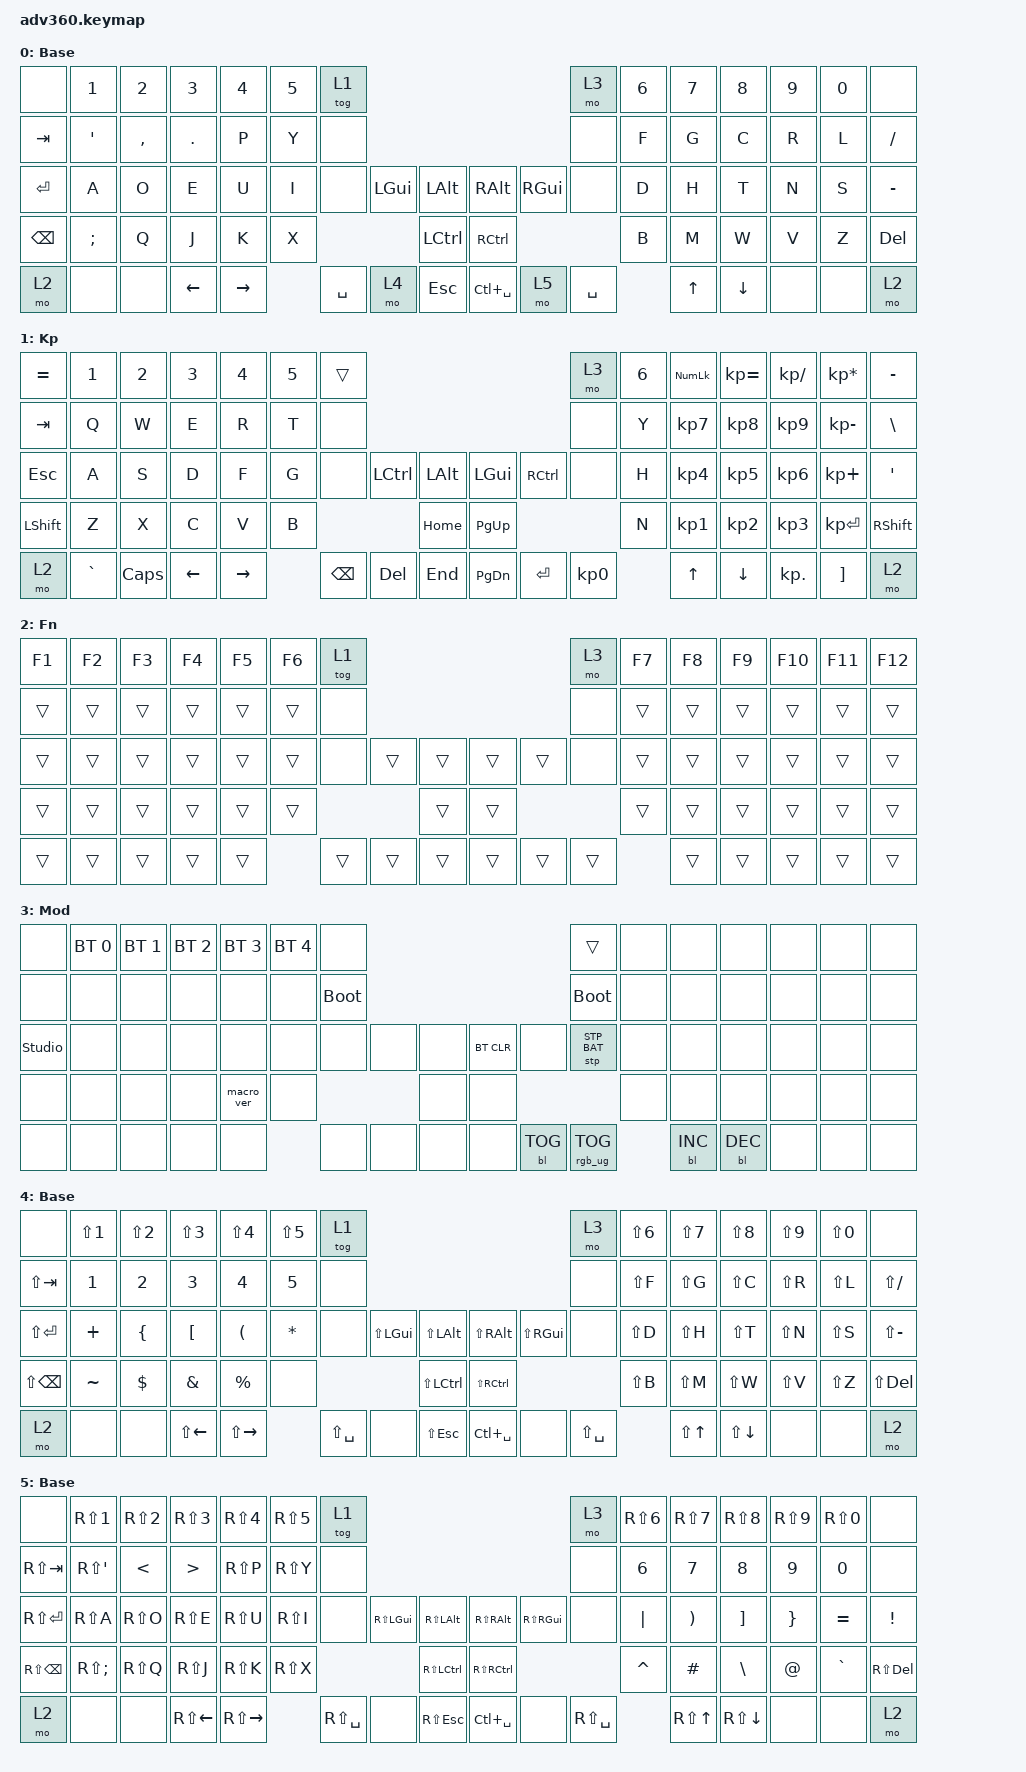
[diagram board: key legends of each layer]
#include <dt-bindings/zmk/stp.h>
#include <behaviors.dtsi>
#include <dt-bindings/zmk/backlight.h>
#include <dt-bindings/zmk/bt.h>
#include <dt-bindings/zmk/keys.h>
#include <dt-bindings/zmk/rgb.h>

/ {
    behaviors {
        #include "macros.dtsi"
      #include "version.dtsi"

        hm: homerow_mods {
            compatible = "zmk,behavior-hold-tap";
            label = "HOMEROW_MODS";
            #binding-cells = <2>;
            tapping-term-ms = <200>;
            quick_tap_ms = <175>;
            flavor = "tap-preferred";
            bindings = <&kp>, <&kp>;
        };
    };

    keymap {
        compatible = "zmk,keymap";

        default_layer {
            display-name = "Base";
            bindings = <
&none          &kp N1         &kp N2     &kp N3      &kp N4     &kp N5  &tog 1                                                        &mo 3      &kp N6  &kp N7  &kp N8    &kp N9  &kp N0  &none
&kp TAB        &kp SQT        &kp COMMA  &kp PERIOD  &kp P      &kp Y   &none                                                         &none      &kp F   &kp G   &kp C     &kp R   &kp L   &kp SLASH
&kp ENTER      &kp A          &kp O      &kp E       &kp U      &kp I   &none      &kp LGUI  &kp LALT        &kp RALT       &kp RGUI  &none      &kp D   &kp H   &kp T     &kp N   &kp S   &kp MINUS
&kp BACKSPACE  &kp SEMICOLON  &kp Q      &kp J       &kp K      &kp X                        &kp LCTRL       &kp RCTRL                           &kp B   &kp M   &kp W     &kp V   &kp Z   &kp DELETE
&mo 2          &none          &none      &kp LEFT    &kp RIGHT          &kp SPACE  &mo 4     &kp ESCAPE      &kp LC(SPACE)  &mo 5     &kp SPACE          &kp UP  &kp DOWN  &none   &none   &mo 2
            >;
        };

        keypad {
            display-name = "Kp";
            bindings = <
&kp EQUAL  &kp N1     &kp N2    &kp N3    &kp N4     &kp N5  &trans                                                   &mo 3      &kp N6  &kp KP_NUM  &kp KP_EQUAL  &kp KP_DIVIDE  &kp KP_MULTIPLY  &kp MINUS
&kp TAB    &kp Q      &kp W     &kp E     &kp R      &kp T   &none                                                    &none      &kp Y   &kp KP_N7   &kp KP_N8     &kp KP_N9      &kp KP_MINUS     &kp BSLH
&kp ESC    &kp A      &kp S     &kp D     &kp F      &kp G   &none     &kp LCTRL  &kp LALT      &kp LGUI   &kp RCTRL  &none      &kp H   &kp KP_N4   &kp KP_N5     &kp KP_N6      &kp KP_PLUS      &kp SQT
&kp LSHFT  &kp Z      &kp X     &kp C     &kp V      &kp B                        &kp HOME      &kp PG_UP                        &kp N   &kp KP_N1   &kp KP_N2     &kp KP_N3      &kp KP_ENTER     &kp RSHFT
&mo 2      &kp GRAVE  &kp CAPS  &kp LEFT  &kp RIGHT          &kp BSPC  &kp DEL    &kp END       &kp PG_DN  &kp ENTER  &kp KP_N0          &kp UP      &kp DOWN      &kp KP_DOT     &kp RBKT         &mo 2
            >;
        };

        fn {
            display-name = "Fn";
            bindings = <
&kp F1  &kp F2  &kp F3  &kp F4  &kp F5  &kp F6  &tog 1                                      &mo 3   &kp F7  &kp F8  &kp F9  &kp F10  &kp F11  &kp F12
&trans  &trans  &trans  &trans  &trans  &trans  &none                                       &none   &trans  &trans  &trans  &trans   &trans   &trans
&trans  &trans  &trans  &trans  &trans  &trans  &none   &trans  &trans      &trans  &trans  &none   &trans  &trans  &trans  &trans   &trans   &trans
&trans  &trans  &trans  &trans  &trans  &trans                  &trans      &trans                  &trans  &trans  &trans  &trans   &trans   &trans
&trans  &trans  &trans  &trans  &trans          &trans  &trans  &trans      &trans  &trans  &trans          &trans  &trans  &trans   &trans   &trans
            >;
        };

        mod {
            display-name = "Mod";
            bindings = <
&none           &bt BT_SEL 0  &bt BT_SEL 1  &bt BT_SEL 2  &bt BT_SEL 3  &bt BT_SEL 4  &none                                                  &trans           &none  &none       &none       &none  &none  &none
&none           &none         &none         &none         &none         &none         &bootloader                                            &bootloader      &none  &none       &none       &none  &none  &none
&studio_unlock  &none         &none         &none         &none         &none         &none        &none  &none      &bt BT_CLR  &none       &stp STP_BAT     &none  &none       &none       &none  &none  &none
&none           &none         &none         &none         &macro_ver    &none                             &none      &none                                    &none  &none       &none       &none  &none  &none
&none           &none         &none         &none         &none                       &none        &none  &none      &none       &bl BL_TOG  &rgb_ug RGB_TOG         &bl BL_INC  &bl BL_DEC  &none  &none  &none
            >;
        };

        layer_4 {
            display-name = "Base";
            bindings = <
&none              &kp LS(N1)    &kp LS(N2)    &kp LS(N3)        &kp LS(N4)     &kp LS(N5)  &tog 1                                                                        &mo 3          &kp LS(N6)  &kp LS(N7)  &kp LS(N8)    &kp LS(N9)  &kp LS(N0)  &none
&kp LS(TAB)        &kp NUMBER_1  &kp NUMBER_2  &kp NUMBER_3      &kp NUMBER_4   &kp N5      &none                                                                         &none          &kp LS(F)   &kp LS(G)   &kp LS(C)     &kp LS(R)   &kp LS(L)   &kp LS(SLASH)
&kp LS(ENTER)      &kp PLUS      &kp LBRC      &kp LEFT_BRACKET  &kp LPAR       &kp ASTRK   &none          &kp LS(LGUI)  &kp LS(LALT)        &kp LS(RALT)   &kp LS(RGUI)  &none          &kp LS(D)   &kp LS(H)   &kp LS(T)     &kp LS(N)   &kp LS(S)   &kp LS(MINUS)
&kp LS(BACKSPACE)  &kp TILDE     &kp DOLLAR    &kp AMPS          &kp PERCENT    &none                                    &kp LS(LCTRL)       &kp LS(RCTRL)                               &kp LS(B)   &kp LS(M)   &kp LS(W)     &kp LS(V)   &kp LS(Z)   &kp LS(DELETE)
&mo 2              &none         &none         &kp LS(LEFT)      &kp LS(RIGHT)              &kp LS(SPACE)  &none         &kp LS(ESCAPE)      &kp LC(SPACE)  &none         &kp LS(SPACE)              &kp LS(UP)  &kp LS(DOWN)  &none       &none       &mo 2
            >;
        };

        layer_5 {
            display-name = "Base";
            bindings = <
&none              &kp RS(N1)            &kp RS(N2)     &kp RS(N3)        &kp RS(N4)     &kp RS(N5)  &tog 1                                                                        &mo 3          &kp RS(N6)    &kp RS(N7)  &kp RS(N8)     &kp RS(N9)  &kp RS(N0)  &none
&kp RS(TAB)        &kp RS(SINGLE_QUOTE)  &kp LESS_THAN  &kp GREATER_THAN  &kp RS(P)      &kp RS(Y)   &none                                                                         &none          &kp NUMBER_6  &kp N7      &kp N8         &kp N9      &kp N0      &none
&kp RS(ENTER)      &kp RS(A)             &kp RS(O)      &kp RS(E)         &kp RS(U)      &kp RS(I)   &none          &kp RS(LGUI)  &kp RS(LALT)        &kp RS(RALT)   &kp RS(RGUI)  &none          &kp PIPE      &kp RPAR    &kp RBKT       &kp RBRC    &kp EQUAL   &kp EXCL
&kp RS(BACKSPACE)  &kp RS(SEMICOLON)     &kp RS(Q)      &kp RS(J)         &kp RS(K)      &kp RS(X)                                &kp RS(LCTRL)       &kp RS(RCTRL)                               &kp CARET     &kp HASH    &kp BACKSLASH  &kp AT      &kp GRAVE   &kp RS(DELETE)
&mo 2              &none                 &none          &kp RS(LEFT)      &kp RS(RIGHT)              &kp RS(SPACE)  &none         &kp RS(ESCAPE)      &kp LC(SPACE)  &none         &kp RS(SPACE)                &kp RS(UP)  &kp RS(DOWN)   &none       &none       &mo 2
            >;
        };
    };
};
